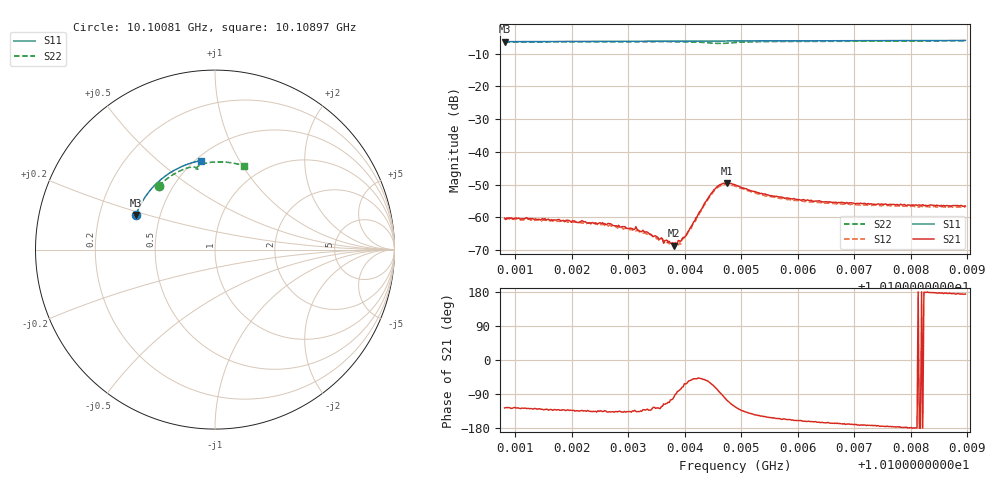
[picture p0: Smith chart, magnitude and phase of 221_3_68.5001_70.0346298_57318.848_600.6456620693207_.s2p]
#  HZ  S  RI  R  50.00
! Rohde & Schwarz Vector Network Analyzer
! Rohde-Schwarz,ZNB20-2Port,1311601062101988,3.16
! Created: UTC 3/20/2024, 4:58:33 PM
! freq[Hz]  re:S11  im:S11  re:S21  im:S21  re:S12  im:S12  re:S22  im:S22
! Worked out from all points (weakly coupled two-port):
!   401 points, 10.10081 GHz to 10.10897 GHz, reference 50 ohm
!   highest |S21| = -49.53 dB at 10.10475 GHz (marker M1); lowest = -68.6 dB at 10.10381 GHz (marker M2)
!   lowest |S11| = -6.4 dB at 10.10081 GHz (marker M3), VSWR 2.86, Z = 18.2 + j9.13 ohm
!   |S11| at or under -10 dB: nowhere
!   |S22| runs from -6.9 to -6.1 dB; largest |S21 - S12| = 0.00035
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1.0100813e10  -0.441 0.1929  -0.000579 -0.000781  -0.000479 -0.00081  -0.3143 0.3546
1.0101221e10  -0.4316 0.216  -0.000586 -0.000758  -0.000528 -0.000783  -0.2948 0.3724
1.0101853e10  -0.4148 0.2506  -0.000597 -0.00068  -0.000564 -0.0007  -0.2628 0.3982
1.0102179e10  -0.4052 0.268  -0.000609 -0.000656  -0.000518 -0.000636  -0.2452 0.4101
1.0102668e10  -0.3892 0.293  -0.000582 -0.000553  -0.000497 -0.000583  -0.2178 0.4269
1.0103117e10  -0.3733 0.3152  -0.000449 -0.000483  -0.000441 -0.000451  -0.1911 0.4404
1.01033e10  -0.3664 0.324  -0.000401 -0.000445  -0.00037 -0.000448  -0.1796 0.4455
1.0103545e10  -0.357 0.3354  -0.000282 -0.000368  -0.000244 -0.000375  -0.1635 0.4517
1.0103687e10  -0.3513 0.342  -0.000187 -0.000413  -0.000154 -0.000379  -0.1541 0.4548
1.010381e10  -0.3462 0.3474  -5.03e-05 -0.000367  -7.29e-06 -0.000364  -0.1452 0.4571
1.0103891e10  -0.3429 0.3511  6.5e-05 -0.000451  4.31e-05 -0.000381  -0.1392 0.4585
1.0104034e10  -0.3368 0.3573  0.000252 -0.000479  0.000321 -0.000462  -0.1284 0.4601
1.010438e10  -0.322 0.372  0.00105 -0.00144  0.00112 -0.00128  -0.1005 0.4541
1.0104523e10  -0.3156 0.3777  0.000923 -0.0025  0.00109 -0.00231  -0.0955 0.445
1.0104645e10  -0.3101 0.3828  3.5e-05 -0.00321  0.000284 -0.00306  -0.0997 0.4404
1.0104747e10  -0.3055 0.3869  -0.000936 -0.0032  -0.000586 -0.00317  -0.1039 0.444
1.010489e10  -0.299 0.3924  -0.00173 -0.00263  -0.00143 -0.00264  -0.1028 0.4544
1.0105155e10  -0.2865 0.4024  -0.00199 -0.00164  -0.0018 -0.00173  -0.0874 0.4691
1.0105522e10  -0.2686 0.4159  -0.00189 -0.00101  -0.00174 -0.00114  -0.0616 0.4792
1.0106256e10  -0.2313 0.4397  -0.00169 -0.000526  -0.00158 -0.00067  -0.0119 0.4875
1.0107621e10  -0.1562 0.4747  -0.00157 -0.000119  -0.00149 -0.000269  0.0771 0.4855
1.0108967e10  -0.0779 0.496  -0.00148 0.00016  -0.00143 3.17e-05  0.1611 0.4673
